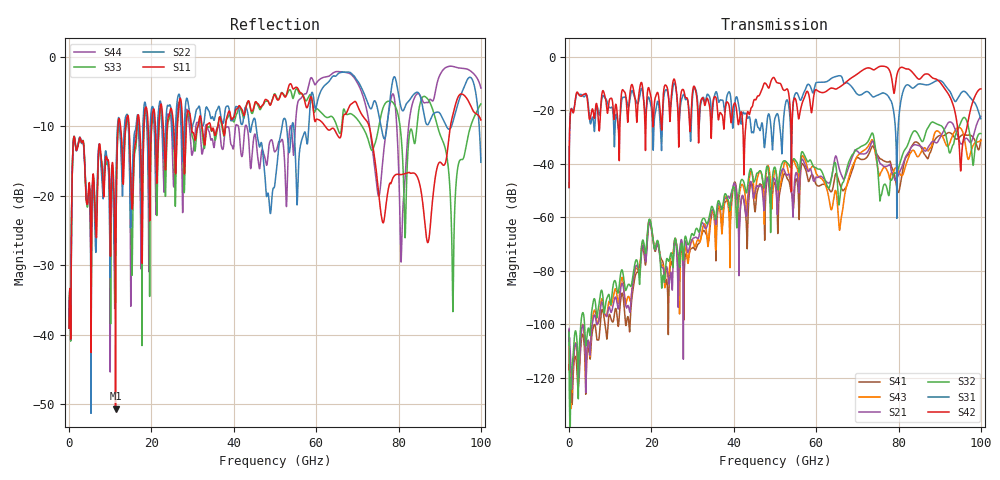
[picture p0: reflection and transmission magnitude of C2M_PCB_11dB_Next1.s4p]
! Info: Touchstone file created by Circ.  Input file=Intel_C2M_200G_1in_202204012_staggered.circ
# Hz S RI R 50
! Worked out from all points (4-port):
!   10000 points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, 10 MHz to 100 GHz, reference 50 ohm
!   strongest paths, dB at 10 MHz, 25.01 GHz, 50.01 GHz, 75.01 GHz, 100 GHz:
!     S42: -48.8, -11.7, -8.4, -3.8, -11.9
!     S31: -48.9, -13.8, -22.9, -14.2, -23.1
!     S32: -103.1, -74.9, -41.3, -43.1, -28.7
!     S21: -101.6, -86.0, -45.9, -37.7, -22.2
!     S43: -103.6, -73.4, -42.4, -42.2, -31.2
!     S41: -102.3, -77.6, -47.0, -37.0, -30.8
!   lowest |S11| = -50.6 dB at 11.28 GHz (marker M1), VSWR 1.01, Z = 50.1 - j0.27 ohm
!   |S11| at or under -10 dB: start of sweep to 11.89 GHz; 62.2 GHz to 66.34 GHz (4.14 GHz wide, 6.44 % of centre); 72.86 GHz to 92.6 GHz (19.74 GHz wide, 23.9 % of centre) (the widest 3 of 15)
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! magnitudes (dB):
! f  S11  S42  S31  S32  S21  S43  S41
! 10 MHz  -39.0  -48.8  -48.9  -103.1  -101.6  -103.6  -102.3
! 1.37 GHz  -11.9  -17.8  -17.8  -103.6  -108.5  -108.0  -112.5
! 11.28 GHz  -50.6  -17.9  -22.7  -84.1  -89.9  -86.7  -94.2
! 65.37 GHz  -11.5  -11.5  -7.0  -52.7  -40.3  -59.4  -45.8
! 80.93 GHz  -16.9  -3.8  -13.8  -36.8  -40.7  -44.3  -43.0
! 95.17 GHz  -5.3  -41.3  -13.5  -24.3  -32.5  -26.8  -29.5
! 100 GHz  -9.1  -11.9  -23.1  -28.7  -22.2  -31.2  -30.8
